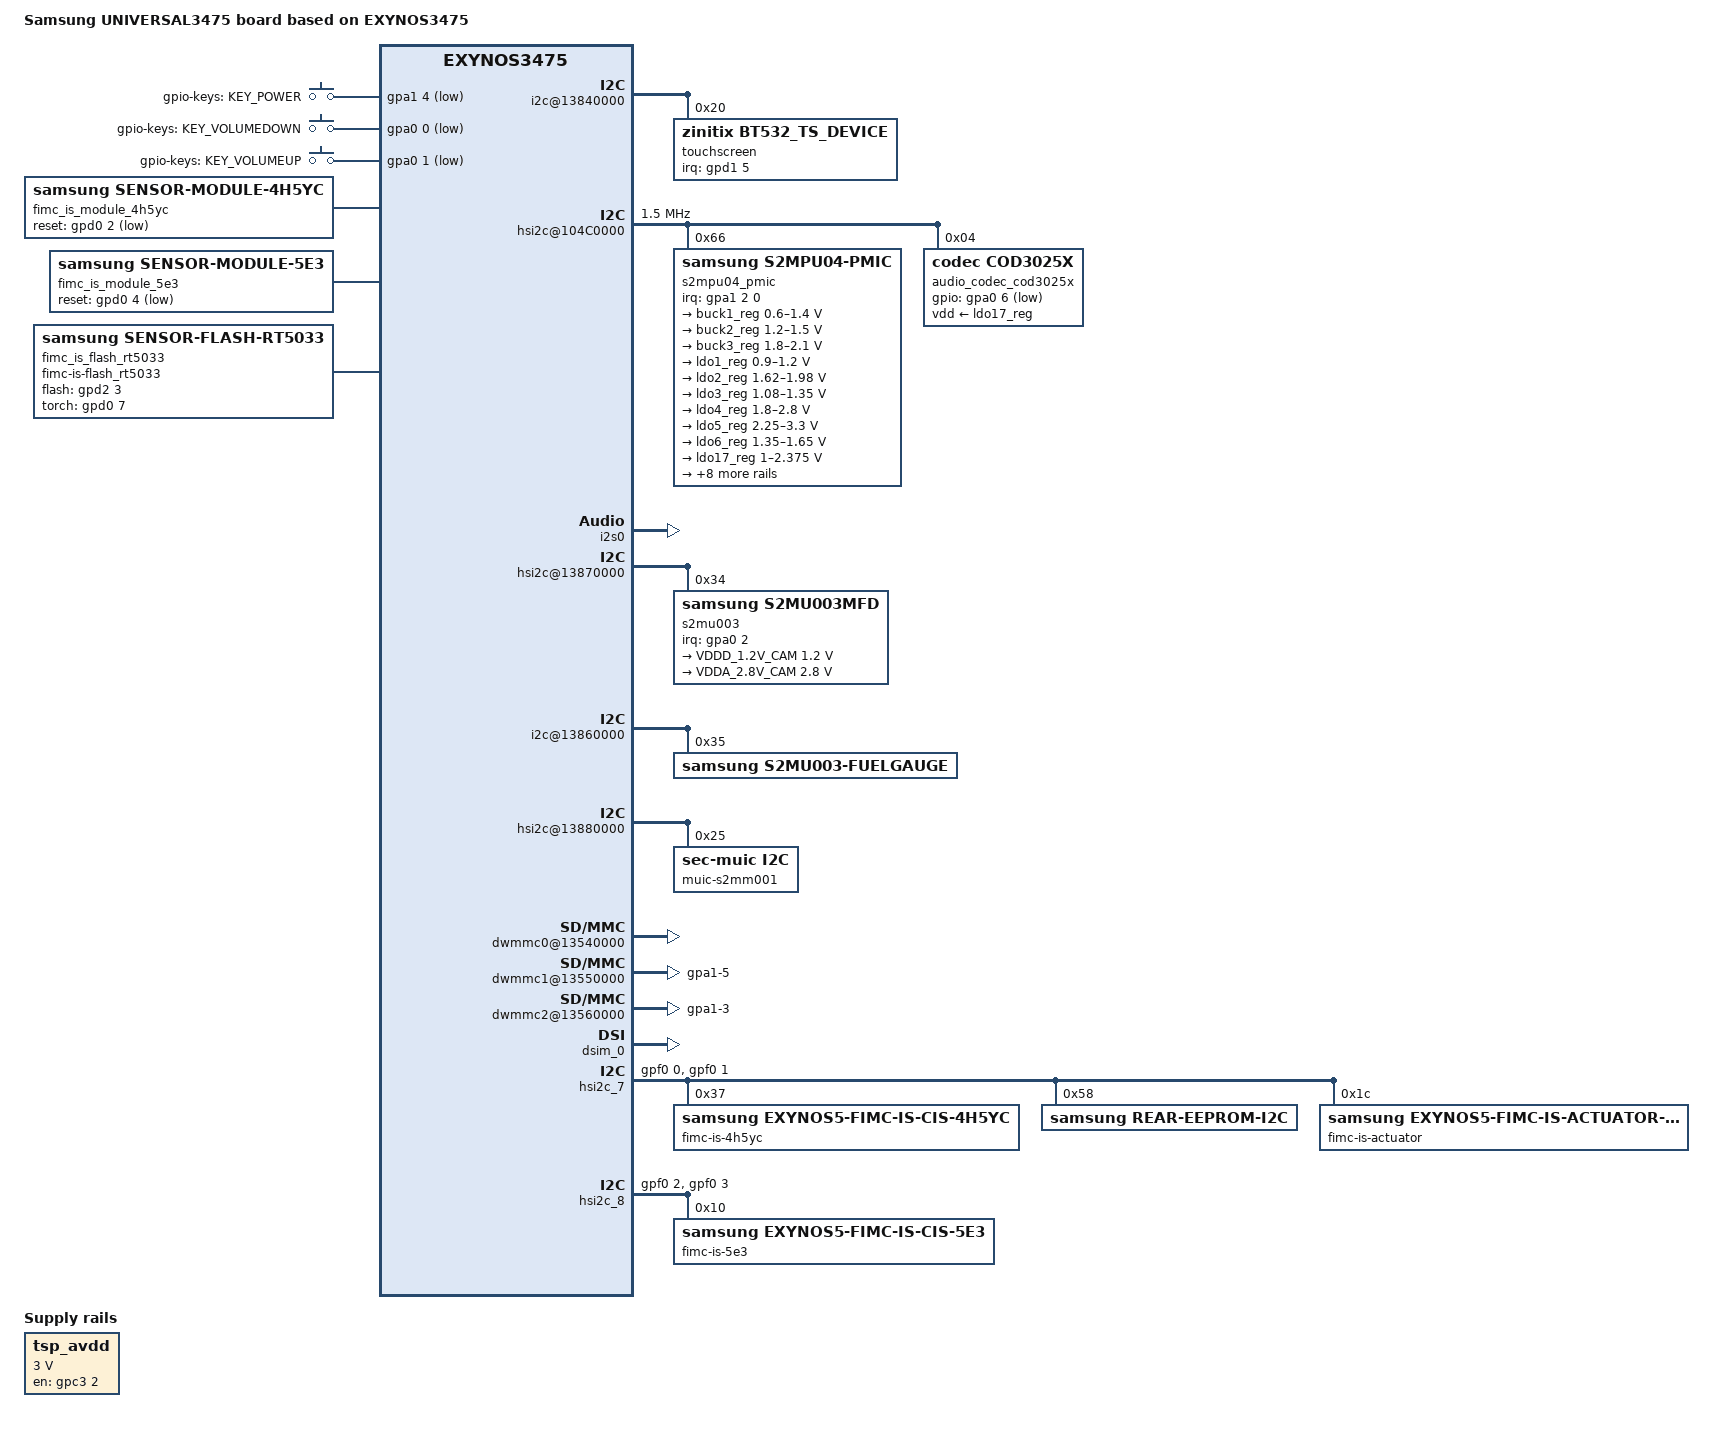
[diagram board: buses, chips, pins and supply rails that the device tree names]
/*
 * SAMSUNG EXYNOS3475 board device tree source
 *
 * Copyright (c) 2013 Samsung Electronics Co., Ltd.
 *		http://www.samsung.com
 *
 * This program is free software; you can redistribute it and/or modify
 * it under the terms of the GNU General Public License version 2 as
 * published by the Free Software Foundation.
*/

/dts-v1/;
#include "exynos3475.dtsi"
#include "modem-ss308ap-pdata.dtsi"

/ {
	model = "Samsung UNIVERSAL3475 board based on EXYNOS3475";
	model_info-chip = <3475>;
	model_info-platform = "android";
	model_info-subtype = "samsung";
	model_info-hw_rev = <0>;
	model_info-hw_rev_end = <0>;
	compatible = "samsung,UNIVERSAL3475", "samsung,exynos3475";

	reserved-memory {
		#address-cells = <1>;
		#size-cells = <1>;
		ranges;

		mfc_nfw {
			compatible = "exynos5433-ion,mfc_nfw";
			size = <0x100000>;
			alignment = <0x100000>;
			id = <12>;
		};
	};

	chosen {
		bootargs = "console=ttySAC2,115200 vmalloc=256M ess_setup=0x26000000";
		linux,initrd-start = <0x22000000>;
		linux,initrd-end = <0x221FFFFF>;
	};

	fixed-rate-clocks {
		oscclk {
			compatible = "samsung,exynos3475-oscclk";
			clock-frequency = <26000000>;
		};
	};

	pinctrl@139C0000 {
		attn_irq: attn-irq {
			samsung,pins = "gpd1-5";
			samsung,pin-function = <0xf>;
			samsung,pin-pud = <0>;
			samsung,pin-drv = <0>;
		};

		attn_input: attn-input {
			samsung,pins = "gpd1-5";
			samsung,pin-function = <0>;
			samsung,pin-pud = <1>;
			samsung,pin-drv = <0>;
		};
	};

	pinctrl@138D0000 {
		i2c_pdn_off: i2c-pdn_off {
			samsung,pins = "gpc3-1", "gpc3-0";
			samsung,pin-con-pdn = <2>;
			samsung,pin-pud-pdn = <1>;
		};
	};

	tsp_ldo_en {
		compatible = "regulator-fixed";
		regulator-name = "tsp_avdd";
		regulator-min-microvolt = <3000000>;
		regulator-max-microvolt = <3000000>;
		gpio = <&gpc3 2 0>;
		enable-active-high;
	 };

	i2c@13840000 {
		samsung,i2c-sda-delay = <100>;
		samsung,i2c-max-bus-freq = <400000>;
		status = "okay";
		touchscreen@20 {
			compatible = "zinitix,bt532_ts_device";
			reg = <0x20>;
			pinctrl-names = "on_state", "off_state";
			pinctrl-0 = <&attn_irq>;
			pinctrl-1 = <&attn_input &i2c_pdn_off>;
			zinitix,irq_gpio = <&gpd1 5 0>;
			zinitix,gpio_ldo_en;
			zinitix,regulator_avdd = "tsp_avdd";
			zinitix,x_resolution = <540>;
			zinitix,y_resolution = <960>;
			zinitix,page_size = <128>;
			zinitix,orientation = <0>;
			zinitix,firmware_name = "tsp_zinitix/bt532_gt58.fw";
			zinitix,touchkey = "true";
		};
	};

	pinctrl@139B0000 {
		pmic_irq: pmic-irq {
			samsung,pins = "gpa1-2";
			samsung,pin-pud = <3>;
			samsung,pin-drv = <3>;
		};

		if_irq: if-irq {
			samsung,pins = "gpa0-2";
			samsung,pin-pud = <3>;
			samsung,pin-drv = <3>;
		};

		cod3025_irq: cod3025-irq {
			samsung,pins = "gpa0-6";
			samsung,pin-pud = <3>;
			samsung,pin-drv = <3>;
		};
	};

	pinctrl@139C0000 {
		/* Warm reset information from AP */
		pm_wrsti: pm-wrsti {
			samsung,pins = "gpd0-1";
			samsung,pin-con-pdn = <3>;
		};
	};

	hsi2c@104C0000 {
        status = "okay";
		samsung,hs-mode;
		clock-frequency = <1500000>;
		samsung,hsi2c-batcher;
		#address-cells = <1>;
		#size-cells = <0>;
		s2mpu04_pmic@66 {
			compatible = "samsung,s2mpu04-pmic";
			reg = <0x66>;
			ten-bit-address;
			interrupts = <2 0 0>;
			interrupt-parent = <&gpa1>;
			pinctrl-names = "default";
			pinctrl-0 = <&pmic_irq &pm_wrsti>;
			/* RTC: wtsr/smpl */
			wtsr_en = <1>; /* enable */
			smpl_en = <1>; /* enable */
			wtsr_timer_val = <3>;   /* 1000ms */
			smpl_timer_val = <4>;   /* 500ms */
			check_jigon = <0>; /* do not check jigon */
			/* RTC: If it's first boot, reset rtc to 1/1/2015 12:00:00(Wed) */
			init_time,sec = <0>;
			init_time,min = <0>;
			init_time,hour = <12>;
			init_time,mday = <1>;
			init_time,mon = <0>;
			init_time,year = <115>;
			init_time,wday = <4>;

			regulators {
				buck1_reg: BUCK1 {
					regulator-name = "vdd_core";
					regulator-min-microvolt = <600000>;
					regulator-max-microvolt = <1400000>;
					regulator-always-on;
					regulator-boot-on;
					regulator-ramp-delay = <12000>;
					regulator-initial-mode = <3>;
					regulator-expected-consumer = <4>;
				};

				buck2_reg: BUCK2 {
					regulator-name = "vdd_lldo";
					regulator-min-microvolt = <1200000>;
					regulator-max-microvolt = <1500000>;
					regulator-always-on;
					regulator-boot-on;
					regulator-ramp-delay = <12000>;
					regulator-initial-mode = <3>;
				};

				buck3_reg: BUCK3 {
					regulator-name = "vdd_mldo";
					regulator-min-microvolt = <1800000>;
					regulator-max-microvolt = <2100000>;
					regulator-always-on;
					regulator-boot-on;
					regulator-ramp-delay = <12000>;
					regulator-initial-mode = <3>;
				};

				ldo1_reg: LDO1 {
					regulator-name = "vdd_ldo1";
					regulator-min-microvolt = <900000>;
					regulator-max-microvolt = <1200000>;
					regulator-always-on;
					regulator-boot-on;
					regulator-initial-mode = <3>;
				};
				ldo2_reg: LDO2 {
					regulator-name = "vdd_ldo2";
					regulator-min-microvolt = <1620000>;
					regulator-max-microvolt = <1980000>;
					regulator-always-on;
					regulator-boot-on;
					regulator-initial-mode = <3>;
				};

				ldo3_reg: LDO3 {
					regulator-name = "vdd_ldo3";
					regulator-min-microvolt = <1080000>;
					regulator-max-microvolt = <1350000>;
					regulator-boot-on;
					regulator-always-on;
					regulator-initial-mode = <3>;
				};

				ldo4_reg: LDO4 {
					regulator-name = "vqmmc";
					regulator-min-microvolt = <1800000>;
					regulator-max-microvolt = <2800000>;
					regulator-boot-on;
					regulator-ramp-delay = <12000>;
					regulator-initial-mode = <1>;
				};

				ldo5_reg: LDO5 {
					regulator-name = "vdd_ldo5";
					regulator-min-microvolt = <2250000>;
					regulator-max-microvolt = <3300000>;
					regulator-boot-on;
					regulator-always-on;
					regulator-initial-mode = <3>;
				};

				ldo6_reg: LDO6 {
					regulator-name = "vdd_ldo6";
					regulator-min-microvolt = <1350000>;
					regulator-max-microvolt = <1650000>;
					regulator-initial-mode = <1>;
				};

				ldo17_reg: LDO17 {
					regulator-name = "vdd_ldo17";
					regulator-min-microvolt = <1000000>;
					regulator-max-microvolt = <2375000>;
					regulator-always-on;
					regulator-boot-on;
					regulator-initial-mode = <1>;
				};

				ldo18_reg: LDO18 {
					regulator-name = "vdd_ldo18";
					regulator-min-microvolt = <1800000>;
					regulator-max-microvolt = <3375000>;
					regulator-always-on;
					regulator-boot-on;
					regulator-initial-mode = <1>;
				};

				ldo19_reg: LDO19 {
					regulator-name = "vdd_ldo19";
					regulator-min-microvolt = <1000000>;
					regulator-max-microvolt = <2375000>;
					regulator-always-on;
					regulator-boot-on;
					regulator-initial-mode = <1>;
				};

				ldo20_reg: LDO20 {
					regulator-name = "vdd_ldo20";
					regulator-min-microvolt = <1800000>;
					regulator-max-microvolt = <3375000>;
					regulator-always-on;
					regulator-boot-on;
					regulator-initial-mode = <1>;
				};

				ldo21_reg: LDO21 {
					regulator-name = "VDDIO_1.8V_CAM";
					regulator-min-microvolt = <1800000>;
					regulator-max-microvolt = <1800000>;
				};

				ldo22_reg: LDO22 {
					regulator-name = "VDDAF_2.8V_CAM";
					regulator-min-microvolt = <2800000>;
					regulator-max-microvolt = <2800000>;
				};

				ldo23_reg: LDO23 {
					regulator-name = "vdd_ldo23";
					regulator-min-microvolt = <1000000>;
					regulator-max-microvolt = <2375000>;
					regulator-always-on;
					regulator-boot-on;
					regulator-initial-mode = <1>;
				};

				ldo24_reg: LDO24 {
					regulator-name = "codec_ldo24";
					regulator-min-microvolt = <1000000>;
					regulator-max-microvolt = <2375000>;
					regulator-boot-on;
					regulator-always-on;
					regulator-initial-mode = <1>;
				};

				ldo25_reg: LDO25 {
					regulator-name = "vdd_ldo25";
					regulator-min-microvolt = <1800000>;
					regulator-max-microvolt = <3375000>;
					regulator-initial-mode = <1>;
				};
			};
		};

		audio_codec_cod3025x: cod3025x@04 {
			compatible = "codec,cod3025x";
			reg = <0x04>;
			ten-bit-address;
			vdd-supply = <&ldo17_reg>;
			pinctrl-names = "default";
			pinctrl-0 = <&cod3025_irq>;
			interrupt-parent = <&gpa0>;
			gpios = <&gpa0 6 0xf>;
		};
	};

	s2803x: s2803x@148C0000 {
		pinctrl-names = "default", "idle";
		pinctrl-0 = <&i2s_pmic_bus>;
		pinctrl-1 = <&i2s_pmic_bus_idle>;
		status = "okay";
	};

	i2s0: i2s@148E0000 {
		status = "okay";
	};

	audio_cp_dummy: cp_dummy {
		compatible = "samsung,cp_dummy";
		status = "okay";
	};

	audio_bt_dummy: bt_dummy {
		compatible = "samsung,bt_dummy";
		status = "okay";
	};

	audio_codec_dummy: dummy-codec {
		compatible = "samsung,dummy-codec";
		status = "okay";
	};

	sound {
		compatible = "samsung,universal3475-cod3025x";
		samsung,audio-cpu = <&i2s0	/* primary */
					&i2s0	/* secondary */
					&audio_cp_dummy
					&audio_bt_dummy>;
		samsung,audio-codec = <&audio_codec_cod3025x
					&audio_codec_cod3025x
					&audio_codec_cod3025x
					&audio_codec_dummy>;
		samsung,auxdev = <&s2803x>;
		status = "okay";
	};

	hsi2c@13870000 {
		status = "okay";
		s2mu003@34 {
			compatible = "samsung,s2mu003mfd";
			reg = <0x34>;
			pinctrl-names = "default";
			pinctrl-0 = <&if_irq>;
			s2mu003,irq-gpio = <&gpa0 2 0>;

			regulators {
				s2mu003-buck1 {
					regulator-name = "VDDD_1.2V_CAM";
					regulator-min-microvolt = <1200000>;
					regulator-max-microvolt = <1200000>;
				};
				s2mu003-ldo1 {
					regulator-name = "VDDA_2.8V_CAM";
					regulator-min-microvolt = <2800000>;
					regulator-max-microvolt = <2800000>;
				};
			};
		};

		leds {
			torch-gpio = <&gpd0 7 0>;
			flash-gpio = <&gpd2 3 0>;

			status = "okay";
			s2mu003-leds1 {
				ledname = "leds-sec1";
				id = <0>;
				brightness = <0x17>;
				timeout = <0x0>;
				max-brightness = <0x15>;
			};

			s2mu003-leds2 {
				ledname = "leds-sec2";
				id = <1>;
				brightness = <0x02>;
				timeout = <0x0>;
				max-brightness = <0xf>;
			};
		};
	};

	i2c@13860000 {
		status = "okay";
		samsung,i2c-sda-delay = <100>;
		samsung,i2c-max-bus-freq = <400000>;
		#address-cells = <1>;
		#size-cells = <0>;
		s2mu003-fuelgauge@35 {
			compatible = "samsung,s2mu003-fuelgauge";
			reg = <0x35>;
			fuelgauge,fuel_alert_soc = <1>;
			fuelgauge,capacity_max = <1000>;
			fuelgauge,capacity_max_margin = <30>;
			fuelgauge,capacity_min = <0>;
			fuelgauge,capacity_calculation_type = <28>;
			fuelgauge,repeated_fuelalert;
			fuelgauge,type_str = "SDI";
		};
	};

	battery {
		battery,charger_name = "sec-charger";
		battery,fuelgauge_name = "sec-fuelgauge";

		battery,input_current_limit = <1800 0 0 1000 460 900 1000 460 1000 0 820 1900 1000 0 0 400 700 1300 300 1000 1500 0 1667 1000 80 1800>;
		battery,fast_charging_current = <2100 0 0 1000 460 1200 1000 460 1200 0 1000 1600 1000 0 0 400 700 1300 300 1000 1500 0 3150 1000 80 1800>;
		battery,full_check_current_1st = <350 0 0 250 250 250 250 250 250 0 250 250 250 0 0 350 350 350 350 350 350 0 350 350 0 350>;
		battery,full_check_current_2nd = <3000 0 0 3000 3000 3000 3000 3000 3000 0 3000 3000 0 0 0 3000 3000 3000 3000 3000 3000 0 3000 3000 3000 3000>;

	};

	s2mu003-charger {
		status = "disable";
		compatible = "samsung,s2mu003-charger";
		battery,is_1MHz_switching = <1>;
		battery,is_fixed_switching = <1>;
		battery,chg_gpio_en = <0>;
		battery,chg_polarity_en = <0>;
		battery,chg_gpio_status = <0>;
		battery,chg_polarity_status = <0>;
		battery,chg_float_voltage = <4350>;
	};

	hsi2c@13880000 {
		status = "okay";
		muic-s2mm001@25 {
			compatible = "sec-muic,i2c";
			reg = <0x25>;
			pinctrl-names = "default";
			muic,muic_int = <&gpa0 4 0>;
		};
	};

	ion {
		compatible = "samsung,exynos5430-ion";

		contig-names = "common",
			       "mfc_sh",
			       "g2d_wfd",
			       "video",
			       "sectbl",
			       "mfc_fw",
			       "mfc_nfw",
			       "secdma";

		contig = <0 0x600000 0x0>,
		         <2 0x100000 0x0>,
		         <10 0x800000 0x0>,
		         <11 0x3000000 0x0>,
		         <9 0x100000 0x0>,
		         <8 0x100000 0x0>,
		         <12 0x100000 0x0>,
		         <13 0x20000 0x0>;

		contig-isolate_on_boot = <0>, <2>, <8>,
					  <9>, <10>, <11>, <12>, <13>;

		ion_noncontig_heap {
			id-type = <0 0>;
		};

		exynos_contig_heap {
			id-type = <4 6>;
		};
	};

	pinctrl@139B0000 {
		gpa0_pull_up: gpa0_pull_up {
			samsung,pins = "gpa0-0", "gpa0-1";
			samsung,pin-function = <0xf>;
			samsung,pin-pud = <3>;
			samsung,pin-drv = <0>;
		};
	};

	gpio_keys {
		compatible = "gpio-keys";
		#address-cells = <1>;
		#size-cells = <0>;
		pinctrl-names = "default";
		pinctrl-0 = <&gpa0_pull_up>;
		button@1 {
			label = "gpio-keys: KEY_POWER";
			interrupts = <4 0 0>;
			interrupt-parent = <&gpa1>;
			linux,code = <116>;
			gpios = <&gpa1 4 0xf>;
			gpio-key,wakeup = <1>;
		};
		button@2 {
			label = "gpio-keys: KEY_VOLUMEDOWN";
			interrupts = <0 0 0>;
			interrupt-parent = <&gpa0>;
			linux,code = <114>;
			gpios = <&gpa0 0 0xf>;
		};
		button@3 {
			label = "gpio-keys: KEY_VOLUMEUP";
			interrupts = <1 0 0>;
			interrupt-parent = <&gpa0>;
			linux,code = <115>;
			gpios = <&gpa0 1 0xf>;
		};
	};

	dwmmc0@13540000 {
		status = "okay";
		num-slots = <1>;
		broken-cd;
		use-smu;
		fixed_volt;
		only_once_tune;
		clock-gate;
		enable-cclk-on-suspend;
		supports-highspeed;
		supports-hs200-mode;
		supports-ddr200-mode;
		supports-ddr200-enhanced-strobe;
		enable-ulp-mode;
		ulp-mux-sel-hs400;
		enable-cache-control;
		use-fine-tuning;
		extra_tuning;
		bypass-for-allpass;
		use-enable-shift;
		desc-size = <3>;
		fifo-depth = <0x40>;
		qos_int_level = <138000>;
		card-detect-delay = <200>;

		/* TXDT_CRC_TIMER_FASTLIMIT[23:16] */
		samsung,dw-mshc-txdt-crc-timer-fastlimit = <0x12>;
		/* TXDT_CRC_TIMER_INITVAL[15:8] */
		samsung,dw-mshc-txdt-crc-timer-initval = <0x14>;
		/* RCLK_DELAY_CTRL[9:0] */
		samsung,dw-mshc-ddr200-delay-line = <0x50>;

		/* For ULP data PATH */
		/* TXDT_CRC_TIMER_FASTLIMIT[23:16] */
		samsung,dw-mshc-ulp-txdt-crc-timer-fastlimit = <0x34>;
		/* TXDT_CRC_TIMER_INITVAL[15:8] */
		samsung,dw-mshc-ulp-txdt-crc-timer-initval = <0x38>;
		/* RCLK_DELAY_CTRL[9:0] */
		samsung,dw-mshc-ulp-ddr200-delay-line = <0x50>;

		samsung,dw-mshc-ciu-div = <3>;
		/* DICRATIO, drv_fine, drv, sample */
		samsung,dw-mshc-sdr-timing = <3 0 2 0>;
		samsung,dw-mshc-sdr-hs-timing = <3 0 2 1>;
		samsung,dw-mshc-ddr-timing = <3 0 4 2>;
		samsung,dw-mshc-hs200-timing = <3 0 3 0>;
		samsung,dw-mshc-ddr200-timing = <1 0 4 0>;
		samsung,dw-mshc-ddr200-ulp-timing = <3 0 4 0>;
		clk_pin = "gpr0-0";
		clk_addr = "13750000.pinctrl";
		clk_val = <0x3>;
		clk_str_num = <6>;
		num-ref-clks = <10>;
		ciu_clkin = <22 42 42 84 167 84 167 334 334 167>;

		pinctrl-names = "default";
		pinctrl-0 = <&sd0_clk &sd0_cmd &sd0_rdqs &sd0_bus1 &sd0_bus4 &sd0_bus8>;
		slot@0 {
			reg = <0>;
			bus-width = <8>;
		};
	};

	dwmmc1@13550000 {
		status = "okay";
		num-slots = <1>;
		cd-type-external;
		pm-ignore-notify;
		keep-power-in-suspend;
		fixed_volt;
		clock-gate;
		enable-cclk-on-suspend;
		caps-control;
		supports-highspeed;
		supports-sdr104-mode;
		supports-highspeed;
		not-allow-single-dma;
		use-fine-tuning;
		bypass-for-allpass;
		desc-size = <3>;
		fifo-depth = <0x40>;
		card-detect-delay = <200>;
		qos_int_level = <138000>;
		samsung,dw-mshc-ciu-div = <3>;
		samsung,dw-mshc-sdr-timing = <3 0 2 1>;
		samsung,dw-mshc-ddr-timing = <3 0 3 2>;
		clk_pin = "gpr2-0";
		clk_addr = "13750000.pinctrl";
		clk_val = <0x2>;
		clk_str_num = <6>;
		num-ref-clks = <8>;
		ciu_clkin = <25 50 50 100 200 100 200 400>;
		pinctrl-names = "default";
		pinctrl-0 = <&sd1_clk &sd1_cmd &sd1_bus1 &sd1_bus4 &dwmmc1_cd_ext_irq &cfg_wlanen>;

		cd-gpio = <&gpa1 5 0xf>;
		slot@0 {
			reg = <0>;
			bus-width = <4>;
		};
	};

	dwmmc2@13560000 {
		status = "okay";
		num-slots = <1>;
		bypass-smu;
		clock-gate;
		enable-cclk-on-suspend;
		caps-control;
		supports-highspeed;
		supports-sdr104-mode;
		fix-fmp-size-mismatch;
		not-allow-single-dma;
		use-fine-tuning;
		desc-size = <3>;
		bypass-for-allpass;
		fifo-depth = <0x40>;
		card-detect-delay = <200>;
		qos_int_level = <138000>;
		samsung,dw-mshc-ciu-div = <3>;
		samsung,dw-mshc-sdr-timing = <3 0 2 1>;
		samsung,dw-mshc-ddr-timing = <3 0 3 2>;
		clk_pin = "gpr4-0";
		clk_addr = "13750000.pinctrl";
		clk_val = <0x2>;
		clk_str_num = <6>;
		num-ref-clks = <8>;
		ciu_clkin = <25 50 50 100 200 100 200 400>;
		pinctrl-names = "default";
		pinctrl-0 = <&sd2_clk &sd2_cmd &sd2_bus1 &sd2_bus4 &dwmmc2_cd_ext_irq>;

		cd-gpio = <&gpa1 3 0xf>;
		slot@0 {
			reg = <0>;
			bus-width = <4>;
			disable-wp;
		};
	};

	pinctrl@139B0000 {
		dwmmc1_cd_ext_irq: dwmmc1_cd_ext_irq {
			   samsung,pins = "gpa1-5";
			   samsung,pin-function = <0xf>;
			   samsung,pin-pud = <0>;
			   samsung,pin-drv = <0>;
		};

		dwmmc2_cd_ext_irq: dwmmc2_cd_ext_irq {
			   samsung,pins = "gpa1-3";
			   samsung,pin-function = <0xf>;
			   samsung,pin-pud = <0>;
			   samsung,pin-drv = <0>;
		};
	};

	decon_fb@14830000 {
		/* addr, display frame(l,t,r,b), format */
		/* bootloader_fb = <0x90000000 0 900 1080 1020 0>; */
		/* XEINT7, GPIO & pin control */
		/* gpios = <&gpa0 7 0xf>; */
		/* disp-pll-clk = <284000000>; */
		status = "okay";
	};

	dsim_0: dsim@14800000 {
		lcd_info = <&s6d78a>;
		decon_board = <&decon_board_list>;
		/* lcd reset, power */ /* backlight PWM and CTRL for temp */
		/* gpios = <&gpd2 2 0x1>, <&gpd0 5 0x1>, <&gpc0 1 0x1>,  <&gpd0 6 0x1>; */
		status = "okay";

		/* number of data lanes in use */
		data_lane_cnt = <2>;
	};

	decon_board_list: decon_board_list {
		dsim_set_panel_power_enable {
			type = "gpio,high", "delay,usleep", "gpio,high", "delay,usleep", "gpio,high", "delay,usleep";
			gpios = <&gpd0 5 0x1>, <&gpc0 1 0x1>,  <&gpd0 6 0x1>;
			delay = <10000 11000>, <10000 11000>, <10000 11000>;
		};
		dsim_set_panel_power_disable {
			type = "gpio,low", "delay,usleep", "gpio,low", "delay,usleep", "gpio,low", "delay,usleep", "gpio,low", "delay,usleep";
			gpios = <&gpd2 2 0x1>, <&gpc0 1 0x1>,  <&gpd0 6 0x1>, <&gpd0 5 0x1>;
			delay = <10000 11000>, <10000 11000>, <10000 11000>, <10000 11000>;
		};
		dsim_reset_panel {
			type = "gpio,high", "delay,usleep", "gpio,low", "delay,usleep", "gpio,high", "delay,usleep";
			gpios = <&gpd2 2 0x1>, <&gpd2 2 0x1>, <&gpd2 2 0x1>;
			delay = <5000 6000>, <5000 6000>, <10000 11000>;
		};
	};

	s6d78a: s6d78a_qhd {
		panel_name = "s6d78a";
		resolution = <540 960>;
		size = <71 114>;
		timing,refresh = <60>;
		/* HBP:10, HFP:10, HSW:14 */
		timing,h-porch = <0xA 0xA 0xE>;
		/* VBP:6, VFP:8, VSW:2 */
		timing,v-porch = <0x6 0x8 0x2>;
		timing,dsi-hs-clk = <420>;	/* FIX ME */
		timing,dsi-escape-clk = <20>;	/* FIX ME */
	};

	usb_notifier {
		compatible = "samsung,usb-notifier";
		udc = <&udc>;
	};

	fimc_is_module_4h5yc: fimc-is_sensor_4h5yc@0 {
		compatible = "samsung,sensor-module-4h5yc";

		pinctrl-names = "pin0", "pin1";
		pinctrl-0 = <&fimc_is_mclk0_fn>; /* rear on */
		pinctrl-1 = <&fimc_is_mclk0_in>; /* rear off */

		position = <0>; /* Rear:0. Front:1 */
		id = <0>; /* bns_id */
		mclk_ch = <0>;
		sensor_i2c_ch = <0>; /* I2C 0 */
		sensor_i2c_addr = <0x37>; /* need the i2c_addr modify */

		gpio_reset = <&gpd0 2 0x1>; /* sensor reset */
		status = "okay";

		af {
			product_name = <10>; /* 10: ACTUATOR_NAME_ZC533 */
			i2c_addr = <0x1C>;
			i2c_ch = <0>; /* I2C 0 */
		};

		flash {
			product_name = <8>; /* FLADRV_NAME_RT5033 */
			flash_first_gpio = <2>;
			flash_second_gpio = <1>;
		};
	};

	fimc_is_module_5e3: fimc-is_sensor_5e3@0 {
		compatible = "samsung,sensor-module-5e3";

		pinctrl-names = "pin0", "pin1";
		pinctrl-0 = <&fimc_is_mclk1_fn>; /* front on */
		pinctrl-1 = <&fimc_is_mclk1_in>; /* front off */

		position = <1>; /* Rear:0. Front:1 */
		id = <1>; /* bns_id */
		mclk_ch = <1>;
		sensor_i2c_ch = <1>;
		sensor_i2c_addr = <0x20>; /* need the i2c_addr modify */

		gpio_reset = <&gpd0 4 0x1>;
		status = "okay";
	};

	fimc_is_flash_rt5033: fimc-is-flash_rt5033@0 {
		compatible = "samsung,sensor-flash-rt5033";
		position = <0>; /* Rear:0. Front:1 */
		status = "okay";

		flash-gpio = <&gpd2 3 0>;
		torch-gpio = <&gpd0 7 0>;
	};

	hsi2c_7: hsi2c@138A0000 {
		gpios = <&gpf0 0 0 &gpf0 1 0>;
		status = "okay";
		samsung,i2c-sda-delay = <100>;
		samsung,i2c-max-bus-freq = <400000>;

		pinctrl-names = "default";
		pinctrl-0 = <&hs_i2c7_bus>;

		fimc-is-4h5yc@37 {
			compatible = "samsung,exynos5-fimc-is-cis-4h5yc";
			reg = <0x37>;
			position = <0>;
			setfile = "setA"; /* setfile_B for universal */
		};

		rear-eeprom-i2c@58 {
			compatible = "samsung,rear-eeprom-i2c";
			reg = <0x58>;
		};

		fimc-is-actuator@1C {
			compatible = "samsung,exynos5-fimc-is-actuator-zc533";
			reg = <0x1C>;
			position = <0>; /* Rear:0, Front:1 */
		};
	};

	hsi2c_8: hsi2c@138B0000 {
		gpios = <&gpf0 2 0 &gpf0 3 0>;
		status = "okay";
		samsung,i2c-sda-delay = <100>;
		samsung,i2c-max-bus-freq = <400000>;

		pinctrl-names = "default";
		pinctrl-0 = <&hs_i2c8_bus>;

		fimc-is-5e3@20 {
			compatible = "samsung,exynos5-fimc-is-cis-5e3";
			reg = <0x10>;
			position = <1>;
			setfile = "default";
		};
	};

	fimc_is_sensor0: fimc_is_sensor@14410000 {
		scenario = <0>;
		id = <0>;
		mclk_ch = <0>;
		csi_ch = <0>;
		flite_ch = <0>;
		i2c_ch = <0>;
		i2c_addr = <0x2D>; /* need the i2c_addr modify */
		is_bns = <0>;
		status = "okay";
	};

	fimc_is_sensor1: fimc_is_sensor@14411000 {
		scenario = <0>;
		id = <1>;
		mclk_ch = <1>;
		csi_ch = <0>;
		flite_ch = <0>;
		i2c_ch = <0>;
		i2c_addr = <0x2D>; /* need the i2c_addr modify */
		is_bns = <0>;
		status = "okay";
	};

	fimc_is@14400000 {
		rear_sensor_id = <13>;
		front_sensor_id = <17>;
		use_module_check;
		skip_cal_loading;

		total_camera_num = <2>;
		camera_info0 {				// 0 : rear
			isp = <0>;			/* 0 : INT , 1 : EXT , 2 : SOC */
			cal_memory = <2>;		/* 0 : N , 1 : FROM , 2 : EEPROM , 3 : OTP  */
			read_version = <0>;		/* 0 : SYSFS , 1 : CAMON */
			core_voltage = <0>;		/* 0 : N , 1 : Y  */
			upgrade = <0>;			/* 0 : N , 1 : SYSFS , 2 : CAMON */
			companion = <0>;		/* 0 : N , 1 : Y  */
			ois = <0>;			/* 0 : N , 1 : Y  */
		};
		camera_info1 {				// 1 : front
			isp = <0>;			/* 0 : INT , 1 : EXT , 2 : SOC */
			cal_memory = <0>;		/* 0 : N , 1 : FROM , 2 : EEPROM , 3 : OTP  */
			read_version = <0>;		/* 0 : SYSFS , 1 : CAMON */
			core_voltage = <0>;		/* 0 : N , 1 : Y  */
			upgrade = <0>;			/* 0 : N , 1 : SYSFS , 2 : CAMON */
			companion = <0>;		/* 0 : N , 1 : Y  */
			ois = <0>;			/* 0 : N , 1 : Y  */
		};

		#define DVFS_INT_L0 334000
		#define DVFS_INT_L1 333000
		#define DVFS_INT_L2 276000
		#define DVFS_INT_L3 207000
		#define DVFS_INT_L4 138000
		#define DVFS_INT_L5 104000

		#define DVFS_CAM_L0 0

		#define DVFS_MIF_L0 666000
		#define DVFS_MIF_L1 559000
		#define DVFS_MIF_L2 413000
		#define DVFS_MIF_L3 338000
		#define DVFS_MIF_L4 273000
		#define DVFS_MIF_L5 200000

		fimc_is_dvfs {
			default_int = <DVFS_INT_L0>;
			default_cam = <DVFS_CAM_L0>;
			default_mif = <DVFS_MIF_L0>;
			default_i2c = <0>;

			front_preview_int = <DVFS_INT_L0>;
			front_preview_cam = <DVFS_CAM_L0>;
			front_preview_mif = <DVFS_MIF_L0>;
			front_preview_i2c = <0>;

			front_capture_int = <DVFS_INT_L0>;
			front_capture_cam = <DVFS_CAM_L0>;
			front_capture_mif = <DVFS_MIF_L0>;
			front_capture_i2c = <0>;

			front_video_int = <DVFS_INT_L0>;
			front_video_cam = <DVFS_CAM_L0>;
			front_video_mif = <DVFS_MIF_L0>;
			front_video_i2c = <0>;

			front_video_whd_int = <DVFS_INT_L0>;
			front_video_whd_cam = <DVFS_CAM_L0>;
			front_video_whd_mif = <DVFS_MIF_L0>;
			front_video_whd_i2c = <0>;

			front_video_capture_int = <DVFS_INT_L0>;
			front_video_capture_cam = <DVFS_CAM_L0>;
			front_video_capture_mif = <DVFS_MIF_L0>;
			front_video_capture_i2c = <0>;

			front_video_whd_capture_int = <DVFS_INT_L0>;
			front_video_whd_capture_cam = <DVFS_CAM_L0>;
			front_video_whd_capture_mif = <DVFS_MIF_L0>;
			front_video_whd_capture_i2c = <0>;

			front_vt1_int = <DVFS_INT_L0>;
			front_vt1_cam = <DVFS_CAM_L0>;
			front_vt1_mif = <DVFS_MIF_L0>;
			front_vt1_i2c = <0>;

			front_vt2_int = <DVFS_INT_L0>;
			front_vt2_cam = <DVFS_CAM_L0>;
			front_vt2_mif = <DVFS_MIF_L0>;
			front_vt2_i2c = <0>;

			rear_preview_fhd_int = <DVFS_INT_L0>;
			rear_preview_fhd_cam = <DVFS_CAM_L0>;
			rear_preview_fhd_mif = <DVFS_MIF_L0>;
			rear_preview_fhd_i2c = <0>;

			rear_preview_whd_int = <DVFS_INT_L0>;
			rear_preview_whd_cam = <DVFS_CAM_L0>;
			rear_preview_whd_mif = <DVFS_MIF_L0>;
			rear_preview_whd_i2c = <0>;

			rear_preview_uhd_int = <DVFS_INT_L0>;
			rear_preview_uhd_cam = <DVFS_CAM_L0>;
			rear_preview_uhd_mif = <DVFS_MIF_L0>;
			rear_preview_uhd_i2c = <0>;

			rear_capture_int = <DVFS_INT_L0>;
			rear_capture_cam = <DVFS_CAM_L0>;
			rear_capture_mif = <DVFS_MIF_L0>;
			rear_capture_i2c = <0>;

			rear_video_fhd_int = <DVFS_INT_L0>;
			rear_video_fhd_cam = <DVFS_CAM_L0>;
			rear_video_fhd_mif = <DVFS_MIF_L0>;
			rear_video_fhd_i2c = <0>;

			rear_video_uhd_int = <DVFS_INT_L0>;
			rear_video_uhd_cam = <DVFS_CAM_L0>;
			rear_video_uhd_mif = <DVFS_MIF_L0>;
			rear_video_uhd_i2c = <0>;
			rear_video_fhd_capture_int = <DVFS_INT_L0>;
			rear_video_fhd_capture_cam = <DVFS_CAM_L0>;
			rear_video_fhd_capture_mif = <DVFS_MIF_L0>;
			rear_video_fhd_capture_i2c = <0>;

			rear_video_uhd_capture_int = <DVFS_INT_L0>;
			rear_video_uhd_capture_cam = <DVFS_CAM_L0>;
			rear_video_uhd_capture_mif = <DVFS_MIF_L0>;
			rear_video_uhd_capture_i2c = <0>;

			dual_preview_int = <DVFS_INT_L0>;
			dual_preview_cam = <DVFS_CAM_L0>;
			dual_preview_mif = <DVFS_MIF_L0>;
			dual_preview_i2c = <0>;

			dual_capture_int = <DVFS_INT_L0>;
			dual_capture_cam = <DVFS_CAM_L0>;
			dual_capture_mif = <DVFS_MIF_L0>;
			dual_capture_i2c = <0>;

			dual_video_int = <DVFS_INT_L0>;
			dual_video_cam = <DVFS_CAM_L0>;
			dual_video_mif = <DVFS_MIF_L0>;
			dual_video_i2c = <0>;

			dual_video_capture_int = <DVFS_INT_L0>;
			dual_video_capture_cam = <DVFS_CAM_L0>;
			dual_video_capture_mif = <DVFS_MIF_L0>;
			dual_video_capture_i2c = <0>;

			preview_high_speed_fps_int = <DVFS_INT_L0>;
			preview_high_speed_fps_cam = <DVFS_CAM_L0>;
			preview_high_speed_fps_mif = <DVFS_MIF_L0>;
			preview_high_speed_fps_i2c = <0>;

			video_high_speed_fps_int = <DVFS_INT_L0>;
			video_high_speed_fps_cam = <DVFS_CAM_L0>;
			video_high_speed_fps_mif = <DVFS_MIF_L0>;
			video_high_speed_fps_i2c = <0>;

			max_int = <DVFS_INT_L0>;
			max_cam = <DVFS_CAM_L0>;
			max_mif = <DVFS_MIF_L0>;
			max_i2c = <0>;
		};
	};

	/* modem_interface */
	mif_pdata {
		pinctrl-names = "default";

		/* To do: will be remove, for system revision */
		gpios = <&gpf1 2 0x0>,
		       <&gpf1 3 0x0>,
		       <&gpd1 7 0x0>;

		mif,ap_clk_table = <
			/* khz */
			1300000
			1196000
			1105000
			1001000
			897000
			806000
			702000
			598000
			507000
			403000
			>;

		mif,mif_clk_table = <
			/* khz */
			666000
			559000
			413000
			338000
			273000
			200000
			>;
	};

	argos {
		compatible = "samsung,argos";
		#address-cells = <1>;
		/*  The device number should be assigned for each device, e.g. "boot_device@1" and "boot_device@2".
		    Duplicated number is not allowed. Please refer the below example. */

		/* Table Format should be
		 * <Throughput(Mbps) ARM_min ARM_max MIF INT Task IRQ>
		 * ARM_min : ARM Core's minimum frequency lock. 0 means not set,
		 * ARM_max : ARM Core's maximum frequency lock. 0 means not set,
		 * MIF : MIF frequency lock. 0 means not set,
		 * INT : INT frequency lock. 0 means not set,
		 * Task : 1 - Set task affinity lock.
		 *        0 - Not set or unlock,
		 *              Task affinity should be predefined driver's code.
		 * IRQ : 1 - Set irq affinity lock.
		 *       0 - Not set or unlock,
		 *              Task affinity should be predefined driver's code.
		 */
		boot_device@1 {
			net_boost,label="IPC";
			net_boost,node="rmnet0 rmnet1 rmnet2 rmnet3 rmnet4 rmnet5 rmnet6 rmnet7 umts_dm0";
			net_boost,table_size = <4>;
			net_boost,table= <  1 0 0 0 0 0 1
					   20 702000 0 413000 100000 0 1
					   50 897000 0 559000 100000 0 1
					  100 1196000 0 666000 100000 0 1>;
		};

		/* Example
		   boot_device@2 {
		   net_boost,label="EMMC";
		   net_boost,node="";
		   net_boost,sysnode="/sys/class/mmc_host/mmc0/trans_count";
		   net_boost,table_size = <1>;
		   net_boost,table= <64 0 0 1300000 0 825000 400000 0 0>;
		   };
		   boot_device@3 {
		   net_boost,label="WIFI";
		   net_boost,node="wlan0";
		   net_boost,table_size = <3>;
		   net_boost,table= <60 1000000 0 800000 0 0 200000 0 0
		   100 1200000 0 1000000 0 0 200000 0 0
		   180 1700000 0 1100000 0 543000 267000 0 0>;
		   };
		   boot_device@4 {
		   net_boost,label="P2P";
		   net_boost,node="p2p-wlan0-0";
		   net_boost,table_size = <3>;
		   net_boost,table= <30 1000000 0 800000 0 0 200000 0 0
		   50 1200000 0 1000000 0 0 200000 0 0
		   90 1700000 0 1100000 0 543000 267000 0 0>;
		   };
		   boot_device@5 {
		   net_boost,label="CLAT";
		   net_boost,node="clat clat4";
		   net_boost,table_size = <3>;
		   net_boost,table= <120 1400000 0 0 0 825000 0 0 0
		   130 1500000 0 0 0 825000 0 0 0
		   150 1600000 0 0 0 825000 0 0 0>;
		   };
		 */
	};
};
